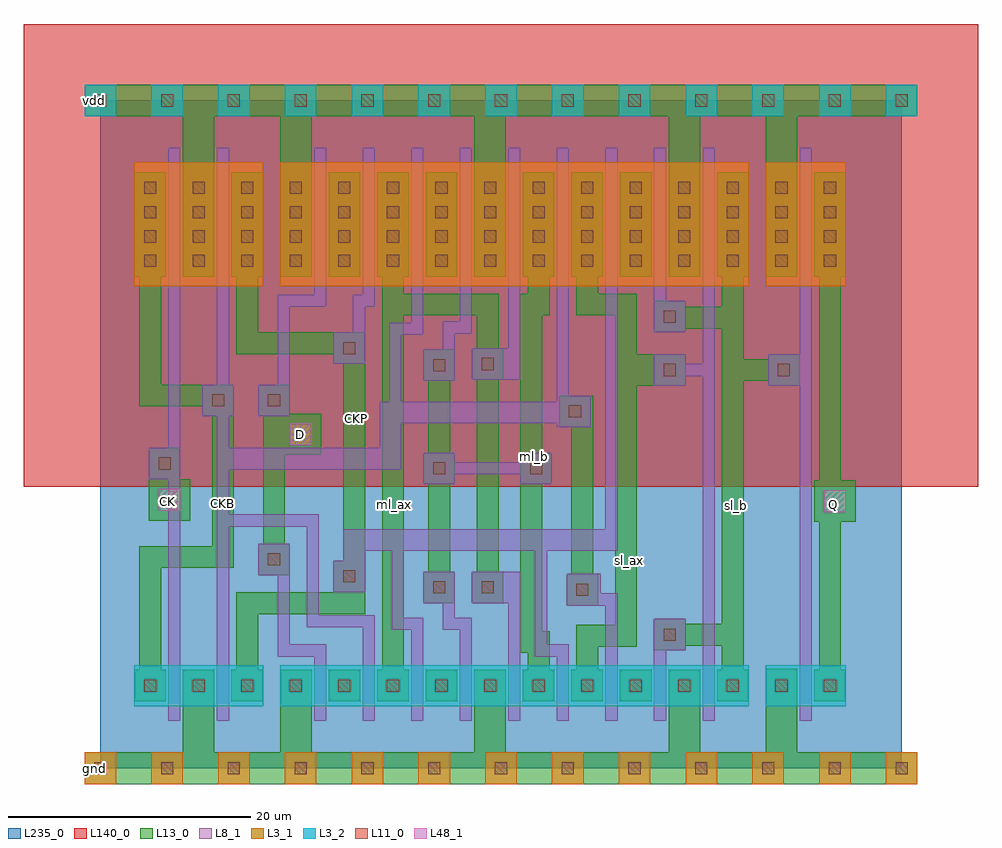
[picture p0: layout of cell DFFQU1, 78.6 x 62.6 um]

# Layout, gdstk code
import gdstk
lib = gdstk.Library(unit=1e-6, precision=1e-09)
def R(c, l, rs):  # rectangles x0, y0, x1, y1
    for r in rs: c.add(gdstk.rectangle(r[:2], r[2:], *l))
def A(c, l, x, y, w, h, nx, ny, dx, dy):  # array of equal rectangles
    R(c, l, [(x+i*dx, y+j*dy, x+i*dx+w, y+j*dy+h) for i in range(nx) for j in range(ny)])
L3_1 = (3, 1)
L3_2 = (3, 2)
L8_1 = (8, 1)
L11_0 = (11, 0)
L13_0 = (13, 0)
L48_1 = (48, 1)
L140_0 = (140, 0)
L235_0 = (235, 0)

cont_n = lib.new_cell('cont_n')
R(cont_n, L3_2, [(-1.3,-1.3,1.3,1.3)])
R(cont_n, L11_0, [(-0.5,-0.5,0.5,0.5)])
R(cont_n, L13_0, [(-1.3,-1.3,1.3,1.3)])

cont_p = lib.new_cell('cont_p')
R(cont_p, L3_1, [(-1.3,-1.3,1.3,1.3)])
R(cont_p, L11_0, [(-0.5,-0.5,0.5,0.5)])
R(cont_p, L13_0, [(-1.3,-1.3,1.3,1.3)])

fet_p = lib.new_cell('fet_p')
R(fet_p, L3_1, [(-19.3,-5.1,19.3,5.1)])
A(fet_p, L11_0, -18.5, -3.5, 1, 1, 10, 4, 4, 2)
A(fet_p, L13_0, -19.3, -4.3, 2.6, 8.6, 10, 1, 4, 0)
fet_p.add(gdstk.FlexPath([(0,-6.3),(0,6.3)], 1, ends="flush", simple_path=True, layer=8, datatype=1))  # L8_1
fet_p.add(gdstk.FlexPath([(-4,-6.3),(-4,6.3)], 1, ends="flush", simple_path=True, layer=8, datatype=1))  # L8_1
fet_p.add(gdstk.FlexPath([(4,-6.3),(4,6.3)], 1, ends="flush", simple_path=True, layer=8, datatype=1))  # L8_1
fet_p.add(gdstk.FlexPath([(-8,-6.3),(-8,6.3)], 1, ends="flush", simple_path=True, layer=8, datatype=1))  # L8_1
fet_p.add(gdstk.FlexPath([(8,-6.3),(8,6.3)], 1, ends="flush", simple_path=True, layer=8, datatype=1))  # L8_1
fet_p.add(gdstk.FlexPath([(-12,-6.3),(-12,6.3)], 1, ends="flush", simple_path=True, layer=8, datatype=1))  # L8_1
fet_p.add(gdstk.FlexPath([(12,-6.3),(12,6.3)], 1, ends="flush", simple_path=True, layer=8, datatype=1))  # L8_1
fet_p.add(gdstk.FlexPath([(-16,-6.3),(-16,6.3)], 1, ends="flush", simple_path=True, layer=8, datatype=1))  # L8_1
fet_p.add(gdstk.FlexPath([(16,-6.3),(16,6.3)], 1, ends="flush", simple_path=True, layer=8, datatype=1))  # L8_1

fet_n = lib.new_cell('fet_n')
R(fet_n, L3_2, [(-19.3,-1.7,19.3,1.7)])
A(fet_n, L11_0, -18.5, -0.5, 1, 1, 10, 1, 4, 0)
A(fet_n, L13_0, -19.3, -1.3, 2.6, 2.6, 10, 1, 4, 0)
fet_n.add(gdstk.FlexPath([(0,-2.9),(0,2.9)], 1, ends="flush", simple_path=True, layer=8, datatype=1))  # L8_1
fet_n.add(gdstk.FlexPath([(-4,-2.9),(-4,2.9)], 1, ends="flush", simple_path=True, layer=8, datatype=1))  # L8_1
fet_n.add(gdstk.FlexPath([(4,-2.9),(4,2.9)], 1, ends="flush", simple_path=True, layer=8, datatype=1))  # L8_1
fet_n.add(gdstk.FlexPath([(-8,-2.9),(-8,2.9)], 1, ends="flush", simple_path=True, layer=8, datatype=1))  # L8_1
fet_n.add(gdstk.FlexPath([(8,-2.9),(8,2.9)], 1, ends="flush", simple_path=True, layer=8, datatype=1))  # L8_1
fet_n.add(gdstk.FlexPath([(-12,-2.9),(-12,2.9)], 1, ends="flush", simple_path=True, layer=8, datatype=1))  # L8_1
fet_n.add(gdstk.FlexPath([(12,-2.9),(12,2.9)], 1, ends="flush", simple_path=True, layer=8, datatype=1))  # L8_1
fet_n.add(gdstk.FlexPath([(-16,-2.9),(-16,2.9)], 1, ends="flush", simple_path=True, layer=8, datatype=1))  # L8_1
fet_n.add(gdstk.FlexPath([(16,-2.9),(16,2.9)], 1, ends="flush", simple_path=True, layer=8, datatype=1))  # L8_1

fet_p_3 = lib.new_cell('fet_p$3')
R(fet_p_3, L3_1, [(-5.3,-5.1,5.3,5.1)])
A(fet_p_3, L11_0, -4.5, -3.5, 1, 1, 3, 4, 4, 2)
A(fet_p_3, L13_0, -5.3, -4.3, 2.6, 8.6, 3, 1, 4, 0)
fet_p_3.add(gdstk.FlexPath([(2,-6.3),(2,6.3)], 1, ends="flush", simple_path=True, layer=8, datatype=1))  # L8_1
fet_p_3.add(gdstk.FlexPath([(-2,-6.3),(-2,6.3)], 1, ends="flush", simple_path=True, layer=8, datatype=1))  # L8_1

fet_n_2 = lib.new_cell('fet_n$2')
R(fet_n_2, L3_2, [(-5.3,-1.7,5.3,1.7)])
A(fet_n_2, L11_0, -4.5, -0.5, 1, 1, 3, 1, 4, 0)
A(fet_n_2, L13_0, -5.3, -1.3, 2.6, 2.6, 3, 1, 4, 0)
fet_n_2.add(gdstk.FlexPath([(2,-2.9),(2,2.9)], 1, ends="flush", simple_path=True, layer=8, datatype=1))  # L8_1
fet_n_2.add(gdstk.FlexPath([(-2,-2.9),(-2,2.9)], 1, ends="flush", simple_path=True, layer=8, datatype=1))  # L8_1

cont_g = lib.new_cell('cont_g')
R(cont_g, L8_1, [(-1.3,-1.3,1.3,1.3)])
R(cont_g, L11_0, [(-0.5,-0.5,0.5,0.5)])
R(cont_g, L13_0, [(-1.3,-1.3,1.3,1.3)])

fet_n_3 = lib.new_cell('fet_n$3')
R(fet_n_3, L3_2, [(-3.3,-1.7,3.3,1.7)])
R(fet_n_3, L11_0, [(-2.5,-0.5,-1.5,0.5), (1.5,-0.5,2.5,0.5)])
R(fet_n_3, L13_0, [(-3.3,-1.3,-0.7,1.3), (0.7,-1.3,3.3,1.3)])
fet_n_3.add(gdstk.FlexPath([(0,-2.9),(0,2.9)], 1, ends="flush", simple_path=True, layer=8, datatype=1))  # L8_1

fet_p_2 = lib.new_cell('fet_p$2')
R(fet_p_2, L3_1, [(-3.3,-5.1,3.3,5.1)])
A(fet_p_2, L11_0, -2.5, -3.5, 1, 1, 1, 4, 0, 2)
A(fet_p_2, L11_0, 1.5, -3.5, 1, 1, 1, 4, 0, 2)
R(fet_p_2, L13_0, [(-3.3,-4.3,-0.7,4.3), (0.7,-4.3,3.3,4.3)])
fet_p_2.add(gdstk.FlexPath([(0,-6.3),(0,6.3)], 1, ends="flush", simple_path=True, layer=8, datatype=1))  # L8_1

dffqu1 = lib.new_cell('DFFQU1')
R(dffqu1, L8_1, [(33.2,13.6,34.1,16.2), (33.2,32,34.1,34.6)])
R(dffqu1, L13_0, [(58.8,20.3,62.2,23.7), (4,20.4,7.4,23.8), (14.8,25.8,18.2,29.2), (44.2,31.5,45.6,34.1)])
R(dffqu1, L48_1, [(59.6,21.1,61.4,22.9), (4.8,21.2,6.6,23), (15.6,26.6,17.4,28.4)])
R(dffqu1, L140_0, [(-6.3,23.2,72.3,61.3)])
R(dffqu1, L235_0, [(0,0,66,55)])
dffqu1.add(gdstk.FlexPath([(38.1,38.5),(38.1,28.6)], 1, ends="extended", simple_path=True, layer=8, datatype=1))  # L8_1
dffqu1.add(gdstk.FlexPath([(10.1,38.5),(10.1,9.7)], 1, ends="extended", simple_path=True, layer=8, datatype=1))  # L8_1
dffqu1.add(gdstk.FlexPath([(10.5,25.5),(23.9,25.5),(23.9,29.3),(39.2,29.3)], 1.8, ends="extended", simple_path=True, layer=8, datatype=1))  # L8_1
dffqu1.add(gdstk.FlexPath([(22.1,9.7),(22.1,12.1),(17.5,12.1),(17.5,20.4),(10.1,20.4)], 1, ends="extended", simple_path=True, layer=8, datatype=1))  # L8_1
dffqu1.add(gdstk.FlexPath([(6.1,38.5),(6.1,9.7)], 1, ends="extended", simple_path=True, layer=8, datatype=1))  # L8_1
dffqu1.add(gdstk.FlexPath([(46.9,32.8),(50.1,32.8)], 1, ends="extended", simple_path=True, layer=8, datatype=1))  # L8_1
dffqu1.add(gdstk.FlexPath([(42.1,9.7),(42.1,13.9),(40.7,13.9),(40.7,15.5)], 1, ends="extended", simple_path=True, layer=8, datatype=1))  # L8_1
dffqu1.add(gdstk.FlexPath([(42.1,38.5),(42.1,19.2)], 1, ends="extended", simple_path=True, layer=8, datatype=1))  # L8_1
dffqu1.add(gdstk.FlexPath([(58.1,38.5),(58.1,9.7)], 1, ends="extended", simple_path=True, layer=8, datatype=1))  # L8_1
dffqu1.add(gdstk.FlexPath([(27.9,24.7),(35.9,24.7)], 1, ends="extended", simple_path=True, layer=8, datatype=1))  # L8_1
dffqu1.add(gdstk.FlexPath([(34.1,38.5),(34.1,32.5)], 1, ends="extended", simple_path=True, layer=8, datatype=1))  # L8_1
dffqu1.add(gdstk.FlexPath([(34.1,9.7),(34.1,15.7)], 1, ends="extended", simple_path=True, layer=8, datatype=1))  # L8_1
dffqu1.add(gdstk.FlexPath([(30.1,38.5),(30.1,36.3),(28.7,36.3),(28.7,32.4)], 1, ends="extended", simple_path=True, layer=8, datatype=1))  # L8_1
dffqu1.add(gdstk.FlexPath([(30.1,9.7),(30.1,11.9),(28.7,11.9),(28.7,15.7)], 1, ends="extended", simple_path=True, layer=8, datatype=1))  # L8_1
dffqu1.add(gdstk.FlexPath([(41.7,18.8),(20.9,18.8),(20.9,15.8)], 1.8, ends="extended", simple_path=True, layer=8, datatype=1))  # L8_1
dffqu1.add(gdstk.FlexPath([(26.1,38.5),(26.1,36.2),(24.3,36.2),(24.3,30.2)], 1, ends="extended", simple_path=True, layer=8, datatype=1))  # L8_1
dffqu1.add(gdstk.FlexPath([(22.1,38.5),(21.3,38.5),(21.3,34.6)], 1, ends="extended", simple_path=True, layer=8, datatype=1))  # L8_1
dffqu1.add(gdstk.FlexPath([(38.1,9.7),(36.3,9.7),(36.3,17.9)], 1, ends="extended", simple_path=True, layer=8, datatype=1))  # L8_1
dffqu1.add(gdstk.FlexPath([(26.1,9.7),(26.1,11.9),(24.5,11.9),(24.5,18.8)], 1, ends="extended", simple_path=True, layer=8, datatype=1))  # L8_1
dffqu1.add(gdstk.FlexPath([(18.1,9.7),(15.1,9.7),(15.1,17.2)], 1, ends="extended", simple_path=True, layer=8, datatype=1))  # L8_1
dffqu1.add(gdstk.FlexPath([(18.1,38.5),(15.1,38.5),(15.1,30.3)], 1, ends="extended", simple_path=True, layer=8, datatype=1))  # L8_1
dffqu1.add(gdstk.FlexPath([(50.1,9.7),(50.1,38.5)], 1, ends="extended", simple_path=True, layer=8, datatype=1))  # L8_1
dffqu1.add(gdstk.FlexPath([(6.1,50.6),(6.1,39)], 1, ends="extended", simple_path=True, layer=8, datatype=1))  # L8_1
dffqu1.add(gdstk.FlexPath([(0.85,55),(66,55)], 2.6, ends="extended", simple_path=True, layer=13, datatype=0))  # L13_0
dffqu1.add(gdstk.FlexPath([(0.85,0),(66,0)], 2.6, ends="extended", simple_path=True, layer=13, datatype=0))  # L13_0
dffqu1.add(gdstk.FlexPath([(32.1,47.6),(32.1,55)], 2.6, ends="extended", simple_path=True, layer=13, datatype=0))  # L13_0
dffqu1.add(gdstk.FlexPath([(39.7,14.7),(39.7,29.8)], 1.8, ends="extended", simple_path=True, layer=13, datatype=0))  # L13_0
dffqu1.add(gdstk.FlexPath([(60.1,41.8),(60.1,6.8)], 1.8, ends="extended", simple_path=True, layer=13, datatype=0))  # L13_0
dffqu1.add(gdstk.FlexPath([(56.1,6.9),(56.1,0)], 2.6, ends="extended", simple_path=True, layer=13, datatype=0))  # L13_0
dffqu1.add(gdstk.FlexPath([(56.1,47.8),(56.1,55)], 2.6, ends="extended", simple_path=True, layer=13, datatype=0))  # L13_0
dffqu1.add(gdstk.FlexPath([(56.3,32.8),(52.1,32.8),(52.1,32.7)], 1.8, ends="extended", simple_path=True, layer=13, datatype=0))  # L13_0
dffqu1.add(gdstk.FlexPath([(40.1,41.8),(40.1,38.2),(43.3,38.2),(43.3,10.9),(40.1,10.9),(40.1,6.8)], 1.8, ends="extended", simple_path=True, layer=13, datatype=0))  # L13_0
dffqu1.add(gdstk.FlexPath([(36.1,41.7),(36.1,38.2),(35.5,38.2),(35.5,10.4),(36.1,10.4),(36.1,6.8)], 1.8, ends="extended", simple_path=True, layer=13, datatype=0))  # L13_0
dffqu1.add(gdstk.FlexPath([(24.1,38.2),(31.9,38.2),(31.9,33.3)], 1.8, ends="extended", simple_path=True, layer=13, datatype=0))  # L13_0
dffqu1.add(gdstk.FlexPath([(31.9,14.9),(31.9,33.3)], 1.8, ends="extended", simple_path=True, layer=13, datatype=0))  # L13_0
dffqu1.add(gdstk.FlexPath([(27.9,33.1),(27.9,14.9)], 1.8, ends="extended", simple_path=True, layer=13, datatype=0))  # L13_0
dffqu1.add(gdstk.FlexPath([(24.1,41.8),(24.1,38.2),(24.1,10.4),(24.1,6.9)], 1.8, ends="extended", simple_path=True, layer=13, datatype=0))  # L13_0
dffqu1.add(gdstk.FlexPath([(12.1,41.8),(12.1,35),(20.9,35),(20.9,13.6),(12.1,13.6),(12.1,6.8)], 1.8, ends="extended", simple_path=True, layer=13, datatype=0))  # L13_0
dffqu1.add(gdstk.FlexPath([(14.3,17.2),(14.3,30.3)], 1.8, ends="extended", simple_path=True, layer=13, datatype=0))  # L13_0
dffqu1.add(gdstk.FlexPath([(14.3,17.2),(14.3,30.3)], 1.8, ends="extended", simple_path=True, layer=13, datatype=0))  # L13_0
dffqu1.add(gdstk.FlexPath([(4.1,41.8),(4.1,30.7),(10.1,30.7),(10.1,17.4),(4.1,17.4),(4.1,6.8)], 1.8, ends="extended", simple_path=True, layer=13, datatype=0))  # L13_0
dffqu1.add(gdstk.FlexPath([(52.1,41.8),(52.1,6.8)], 1.8, ends="extended", simple_path=True, layer=13, datatype=0))  # L13_0
dffqu1.add(gdstk.FlexPath([(46.9,11),(52.1,11)], 1.8, ends="extended", simple_path=True, layer=13, datatype=0))  # L13_0
dffqu1.add(gdstk.FlexPath([(46.9,37.1),(52.1,37.1)], 1.8, ends="extended", simple_path=True, layer=13, datatype=0))  # L13_0
dffqu1.add(gdstk.FlexPath([(16.1,6.8),(16.1,0.1)], 2.6, ends="extended", simple_path=True, layer=13, datatype=0))  # L13_0
dffqu1.add(gdstk.FlexPath([(32.1,6.8),(32.1,0)], 2.6, ends="extended", simple_path=True, layer=13, datatype=0))  # L13_0
dffqu1.add(gdstk.FlexPath([(48.1,47.8),(48.1,55)], 2.6, ends="extended", simple_path=True, layer=13, datatype=0))  # L13_0
dffqu1.add(gdstk.FlexPath([(48.1,6.8),(48.1,0)], 2.6, ends="extended", simple_path=True, layer=13, datatype=0))  # L13_0
dffqu1.add(gdstk.FlexPath([(8.1,47.8),(8.1,55)], 2.6, ends="extended", simple_path=True, layer=13, datatype=0))  # L13_0
dffqu1.add(gdstk.FlexPath([(8.1,6.8),(8.1,0)], 2.6, ends="extended", simple_path=True, layer=13, datatype=0))  # L13_0
dffqu1.add(gdstk.FlexPath([(16.1,47.8),(16.1,55)], 2.6, ends="extended", simple_path=True, layer=13, datatype=0))  # L13_0
dffqu1.add(gdstk.Reference(cont_n, (0,55)))
dffqu1.add(gdstk.Reference(cont_n, (5.5,55)))
dffqu1.add(gdstk.Reference(cont_n, (11,55)))
dffqu1.add(gdstk.Reference(cont_n, (16.5,55)))
dffqu1.add(gdstk.Reference(cont_p, (0,0)))
dffqu1.add(gdstk.Reference(cont_p, (5.5,0)))
dffqu1.add(gdstk.Reference(cont_p, (11,0)))
dffqu1.add(gdstk.Reference(cont_p, (16.5,0)))
dffqu1.add(gdstk.Reference(cont_n, (66,55)))
dffqu1.add(gdstk.Reference(cont_p, (66,0)))
dffqu1.add(gdstk.Reference(cont_n, (22,55)))
dffqu1.add(gdstk.Reference(cont_p, (22,0)))
dffqu1.add(gdstk.Reference(fet_p, (34.1,44.8)))
dffqu1.add(gdstk.Reference(fet_n, (34.1,6.8)))
dffqu1.add(gdstk.Reference(fet_p_3, (8.1,44.8)))
dffqu1.add(gdstk.Reference(fet_n_2, (8.1,6.8)))
dffqu1.add(gdstk.Reference(cont_g, (20.5,34.6)))
dffqu1.add(gdstk.Reference(cont_g, (9.7,30.3)))
dffqu1.add(gdstk.Reference(cont_g, (27.9,14.9)))
dffqu1.add(gdstk.Reference(cont_g, (27.9,33.2)))
dffqu1.add(gdstk.Reference(cont_g, (31.9,14.9)))
dffqu1.add(gdstk.Reference(cont_g, (31.9,33.3)))
dffqu1.add(gdstk.Reference(cont_g, (46.9,11)))
dffqu1.add(gdstk.Reference(cont_g, (46.9,37.2)))
dffqu1.add(gdstk.Reference(fet_n_3, (58.1,6.8)))
dffqu1.add(gdstk.Reference(fet_p_2, (58.1,44.8)))
dffqu1.add(gdstk.Reference(cont_g, (46.9,32.8)))
dffqu1.add(gdstk.Reference(cont_g, (39.7,14.7)))
dffqu1.add(gdstk.Reference(cont_g, (39.1,29.4)))
dffqu1.add(gdstk.Reference(cont_g, (56.3,32.8)))
dffqu1.add(gdstk.Reference(cont_g, (27.9,24.7)))
dffqu1.add(gdstk.Reference(cont_g, (35.9,24.7)))
dffqu1.add(gdstk.Reference(cont_g, (20.5,15.8)))
dffqu1.add(gdstk.Reference(cont_g, (14.3,17.2)))
dffqu1.add(gdstk.Reference(cont_g, (14.3,30.3)))
dffqu1.add(gdstk.Reference(cont_g, (5.3,25.1)))
dffqu1.add(gdstk.Reference(cont_n, (27.5,55)))
dffqu1.add(gdstk.Reference(cont_p, (27.5,0)))
dffqu1.add(gdstk.Reference(cont_n, (33,55)))
dffqu1.add(gdstk.Reference(cont_p, (33,0)))
dffqu1.add(gdstk.Reference(cont_n, (38.5,55)))
dffqu1.add(gdstk.Reference(cont_p, (38.5,0)))
dffqu1.add(gdstk.Reference(cont_n, (44,55)))
dffqu1.add(gdstk.Reference(cont_p, (44,0)))
dffqu1.add(gdstk.Reference(cont_n, (49.5,55)))
dffqu1.add(gdstk.Reference(cont_p, (49.5,0)))
dffqu1.add(gdstk.Reference(cont_n, (55,55)))
dffqu1.add(gdstk.Reference(cont_p, (55,0)))
dffqu1.add(gdstk.Reference(cont_n, (60.5,55)))
dffqu1.add(gdstk.Reference(cont_p, (60.5,0)))
dffqu1.add(gdstk.Label('D', (16.5,27.5), layer=48, texttype=0))
dffqu1.add(gdstk.Label('CKB', (10.1,21.8), layer=48, texttype=0))
dffqu1.add(gdstk.Label('CKP', (21.1,28.8), layer=48, texttype=0))
dffqu1.add(gdstk.Label('CK', (5.5,22), layer=48, texttype=0))
dffqu1.add(gdstk.Label('Q', (60.4,21.7), layer=48, texttype=0))
dffqu1.add(gdstk.Label('ml_ax', (24.2,21.7), layer=48, texttype=0))
dffqu1.add(gdstk.Label('ml_b', (35.8,25.7), layer=48, texttype=0))
dffqu1.add(gdstk.Label('sl_ax', (43.6,17.1), layer=48, texttype=0))
dffqu1.add(gdstk.Label('sl_b', (52.4,21.6), layer=48, texttype=0))
dffqu1.add(gdstk.Label('gnd', (-0.5,0), layer=48, texttype=0))
dffqu1.add(gdstk.Label('vdd', (-0.5,55), layer=48, texttype=0))

lib.write_gds('DFFQU1.gds')
